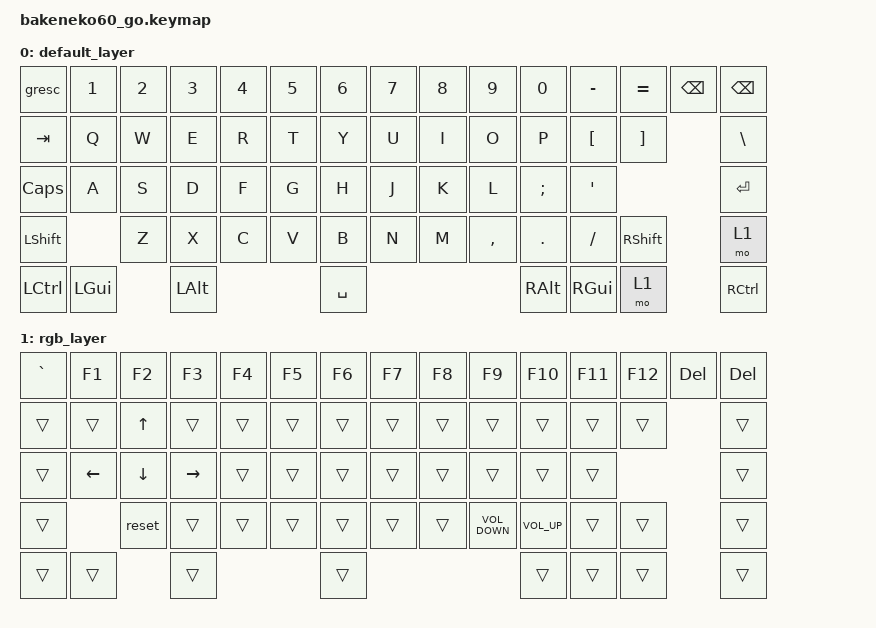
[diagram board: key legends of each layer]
/*
 * Copyright (c) 2023 Andrew Kannan
 *
 * SPDX-License-Identifier: MIT
 */

#include <behaviors.dtsi>
#include <dt-bindings/zmk/keys.h>

/ {
    keymap {
        compatible = "zmk,keymap";

        default_layer {
            // ------------------------------------------------------------------------------------------
            // | ESC |  1  |  2  |  3  |  4  |  5  |  6  |  7  |  8  |  9  |  0  |  -  |  =  | BKSP|BKSP|
            // | TAB  |  Q  |  W  |  E  |  R  |  T  |  Y  |  U  |  I  |  O  |  P  |  [  |  ]  |   "|"   |
            // | CAPS  |  A  |  S  |  D  |  F  |  G  |  H  |  J  |  K  |  L  |  ;  |  '  |     ENTER    |
            // |  SHIFT  |  Z  |  X  |  C  |  V  |  B  |  N  |  M  |  ,  |  .  |  /  |  SHIFT  | MO(1)  |
            // |  CTL  |  WIN  |  ALT  |            SPACE              |  ALT  |  WIN  |  MO(1) |  CTL  |
            // ------------------------------------------------------------------------------------------

            bindings = <
&gresc     &kp N1    &kp N2  &kp N3    &kp N4  &kp N5  &kp N6     &kp N7  &kp N8  &kp N9     &kp N0    &kp MINUS  &kp EQUAL  &kp BSPC  &kp BSPC
&kp TAB    &kp Q     &kp W   &kp E     &kp R   &kp T   &kp Y      &kp U   &kp I   &kp O      &kp P     &kp LBKT   &kp RBKT             &kp BSLH
&kp CLCK   &kp A     &kp S   &kp D     &kp F   &kp G   &kp H      &kp J   &kp K   &kp L      &kp SEMI  &kp SQT                         &kp RET
&kp LSHFT            &kp Z   &kp X     &kp C   &kp V   &kp B      &kp N   &kp M   &kp COMMA  &kp DOT   &kp FSLH   &kp RSHFT            &mo 1
&kp LCTRL  &kp LGUI          &kp LALT                  &kp SPACE                             &kp RALT  &kp RGUI   &mo 1                &kp RCTRL
            >;
        };

        rgb_layer {
            // ------------------------------------------------------------------------------------------------
            // |    `   | F1  | F2  | F3  | F4  | F5  | F6  | F7  | F8  | F9  | F10  | F11 | F12 |     | DEL  |
            // | EFCT REV|   |  UP |   | HUEUP | SATUP | BRIUP | SPDUP |      |  PGUP |    |     |    |       |
            // | EFCT FWD | LT |  DN  | RT | HUEDN | SATDN | BRIDN | SPDDN | HOME | PGDN | END  |  | BOOTLDR  |
            // |             |     |      |      |     |     |     |     |     |     |     |         |        |
            // |         |      |      |             TOG RGB                | PRT SCR |       |       |  MO(2)|
            // ------------------------------------------------------------------------------------------------

            bindings = <
&kp GRAVE  &kp F1    &kp F2    &kp F3     &kp F4  &kp F5  &kp F6  &kp F7  &kp F8  &kp F9             &kp F10          &kp F11  &kp F12  &kp DEL  &kp DEL
&trans     &trans    &kp UP    &trans     &trans  &trans  &trans  &trans  &trans  &trans             &trans           &trans   &trans            &trans
&trans     &kp LEFT  &kp DOWN  &kp RIGHT  &trans  &trans  &trans  &trans  &trans  &trans             &trans           &trans                     &trans
&trans               &reset    &trans     &trans  &trans  &trans  &trans  &trans  &kp K_VOLUME_DOWN  &kp K_VOLUME_UP  &trans   &trans            &trans
&trans     &trans              &trans                     &trans                                     &trans           &trans   &trans            &trans
            >;
        };
    };

    combos {
        compatible = "zmk,combos";

        combo_bt {
            timeout-ms = <50>;
            key-positions = <61 62>;
            bindings = <&mo 0>;
        };
    };
};
